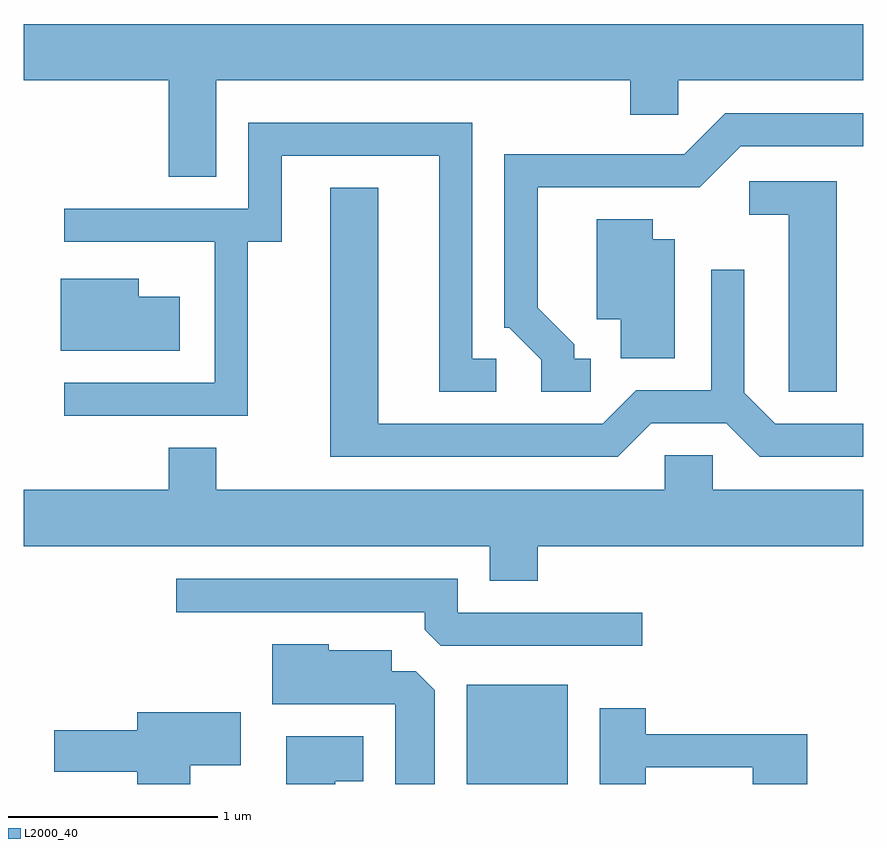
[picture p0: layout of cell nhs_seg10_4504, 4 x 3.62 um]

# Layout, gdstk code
import gdstk
lib = gdstk.Library(unit=1e-6, precision=1e-09)
def R(c, l, rs):  # rectangles x0, y0, x1, y1
    for r in rs: c.add(gdstk.rectangle(r[:2], r[2:], *l))
def P(c, l, *ps):  # polygons
    for p in ps: c.add(gdstk.Polygon(p, *l))
L2000_40 = (2000, 40)

nhs_seg10_4504 = lib.new_cell('nhs_seg10_4504')
R(nhs_seg10_4504, L2000_40, [(319.721,2150.522,320.204,2150.994)])
P(nhs_seg10_4504, L2000_40, [(318.529,2153.876),(320.501,2153.876),(320.501,2153.711),(320.729,2153.711),(320.729,2153.876),(321.611,2153.876),(321.611,2154.144),(317.611,2154.144),(317.611,2153.876),(318.301,2153.876),(318.301,2153.416),(318.529,2153.416)],
  [(320.313,2152.549),(320.234,2152.549),(320.234,2152.617),(320.059,2152.792),(320.059,2153.366),(320.832,2153.366),(321.027,2153.561),(321.611,2153.561),(321.611,2153.719),(320.954,2153.719),(320.759,2153.524),(319.901,2153.524),(319.901,2152.696),(319.924,2152.696),(320.076,2152.544),(320.076,2152.391),(320.313,2152.391)],
  [(318.679,2153.106),(318.839,2153.106),(318.839,2153.516),(319.591,2153.516),(319.591,2152.391),(319.863,2152.391),(319.863,2152.549),(319.749,2152.549),(319.749,2153.674),(318.681,2153.674),(318.681,2153.264),(317.803,2153.264),(317.803,2153.106),(318.521,2153.106),(318.521,2152.434),(317.803,2152.434),(317.803,2152.276),(318.679,2152.276)],
  [(321.484,2153.394),(321.068,2153.394),(321.068,2153.236),(321.256,2153.236),(321.256,2152.391),(321.484,2152.391)],
  [(320.602,2152.241),(320.959,2152.241),(321.119,2152.081),(321.611,2152.081),(321.611,2152.239),(321.192,2152.239),(321.044,2152.387),(321.044,2152.973),(320.886,2152.973),(320.886,2152.399),(320.529,2152.399),(320.369,2152.239),(319.299,2152.239),(319.299,2153.364),(319.071,2153.364),(319.071,2152.081),(320.442,2152.081)],
  [(320.714,2153.119),(320.609,2153.119),(320.609,2153.214),(320.341,2153.214),(320.341,2152.736),(320.456,2152.736),(320.456,2152.551),(320.714,2152.551)],
  [(318.354,2152.844),(318.159,2152.844),(318.159,2152.929),(317.786,2152.929),(317.786,2152.586),(318.354,2152.586)],
  [(320.059,2151.656),(321.611,2151.656),(321.611,2151.924),(320.894,2151.924),(320.894,2152.089),(320.666,2152.089),(320.666,2151.924),(318.529,2151.924),(318.529,2152.124),(318.301,2152.124),(318.301,2151.924),(317.611,2151.924),(317.611,2151.656),(319.831,2151.656),(319.831,2151.491),(320.059,2151.491)],
  [(320.558,2151.339),(319.679,2151.339),(319.679,2151.499),(318.338,2151.499),(318.338,2151.341),(319.521,2151.341),(319.521,2151.257),(319.597,2151.181),(320.558,2151.181)],
  [(319.569,2150.969),(319.479,2151.059),(319.364,2151.059),(319.364,2151.159),(319.064,2151.159),(319.064,2151.189),(318.796,2151.189),(318.796,2150.901),(319.381,2150.901),(319.381,2150.522),(319.569,2150.522)],
  [(320.574,2150.601),(321.086,2150.601),(321.086,2150.522),(321.344,2150.522),(321.344,2150.759),(320.574,2150.759),(320.574,2150.884),(320.356,2150.884),(320.356,2150.522),(320.574,2150.522)],
  [(318.404,2150.611),(318.644,2150.611),(318.644,2150.864),(318.151,2150.864),(318.151,2150.779),(317.756,2150.779),(317.756,2150.581),(318.151,2150.581),(318.151,2150.522),(318.404,2150.522)],
  [(319.094,2150.536),(319.229,2150.536),(319.229,2150.749),(318.861,2150.749),(318.861,2150.522),(319.094,2150.522)])

lib.write_gds('nhs_seg10_4504.gds')
